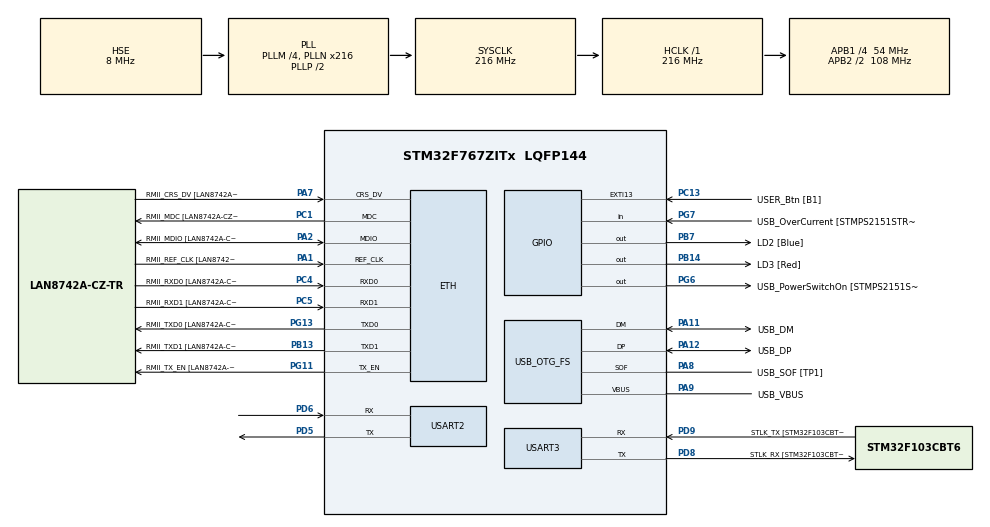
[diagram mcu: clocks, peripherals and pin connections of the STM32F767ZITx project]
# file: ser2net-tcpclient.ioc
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Dma.Request0=USART2_RX
Dma.USART2_RX.0.Direction=DMA_PERIPH_TO_MEMORY
Dma.USART2_RX.0.FIFOMode=DMA_FIFOMODE_DISABLE
Dma.USART2_RX.0.Instance=DMA1_Stream5
Dma.USART2_RX.0.MemDataAlignment=DMA_MDATAALIGN_BYTE
Dma.USART2_RX.0.MemInc=DMA_MINC_ENABLE
Dma.USART2_RX.0.Mode=DMA_NORMAL
Dma.USART2_RX.0.PeriphDataAlignment=DMA_PDATAALIGN_BYTE
Dma.USART2_RX.0.PeriphInc=DMA_PINC_DISABLE
Dma.USART2_RX.0.Priority=DMA_PRIORITY_MEDIUM
ETH.MACAddr=00\:80\:E0\:12\:34\:56
ETH.MediaInterface=ETH_MEDIA_INTERFACE_RMII
ETH.PHY_Name=LAN8742A_PHY_ADDRESS
ETH.PHY_Value=0
ETH.PhyAddress=0
LWIP.GATEWAY_ADDRESS=192.168.001.001
LWIP.IP_ADDRESS=192.168.001.123
LWIP.LWIP_DHCP=0
LWIP.MEMP_NUM_TCP_SEG=24
LWIP.NETMASK_ADDRESS=255.255.255.000
LWIP.TCP_MSS=460
LWIP.TCP_SND_BUF=1840
LWIP.TCP_WND=2048
LWIP.Version=v2.0.3_Cube
Mcu.Family=STM32F7
Mcu.Name=STM32F767ZITx
Mcu.Package=LQFP144
NVIC.DMA1_Stream5_IRQn=true\:0\:0\:false\:false\:true\:false\:true
NVIC.PriorityGroup=NVIC_PRIORITYGROUP_4
NVIC.USART2_IRQn=true\:0\:0\:false\:false\:true\:true\:true
PA1.GPIO_Label=RMII_REF_CLK [LAN8742A-CZ-TR_REFCLK0]
PA1.Mode=RMII
PA1.Signal=ETH_REF_CLK
PA10.GPIO_Label=USB_ID
PA10.Signal=USB_OTG_FS_ID
PA11.GPIO_Label=USB_DM
PA11.Mode=Device_Only
PA11.Signal=USB_OTG_FS_DM
PA12.GPIO_Label=USB_DP
PA12.Mode=Device_Only
PA12.Signal=USB_OTG_FS_DP
PA13.GPIO_Label=TMS
PA13.Mode=Serial_Wire
PA13.Signal=SYS_JTMS-SWDIO
PA14.GPIO_Label=TCK
PA14.Mode=Serial_Wire
PA14.Signal=SYS_JTCK-SWCLK
PA2.GPIO_Label=RMII_MDIO [LAN8742A-CZ-TR_MDIO]
PA2.Mode=RMII
PA2.Signal=ETH_MDIO
PA7.GPIO_Label=RMII_CRS_DV [LAN8742A-CZ-TR_CRS_DV]
PA7.Mode=RMII
PA7.Signal=ETH_CRS_DV
PA8.GPIO_Label=USB_SOF [TP1]
PA8.Mode=Activate_SOF_FS
PA8.Signal=USB_OTG_FS_SOF
PA9.GPIO_Label=USB_VBUS
PA9.Mode=Activate_VBUS
PA9.Signal=USB_OTG_FS_VBUS
PB13.GPIO_Label=RMII_TXD1 [LAN8742A-CZ-TR_TXD1]
PB13.Mode=RMII
PB13.Signal=ETH_TXD1
PB14.GPIO_Label=LD3 [Red]
PB14.Signal=GPIO_Output
PB3.GPIO_Label=SWO
PB3.Signal=SYS_JTDO-SWO
PB7.GPIO_Label=LD2 [Blue]
PB7.Signal=GPIO_Output
PC1.GPIO_Label=RMII_MDC [LAN8742A-CZ-TR_MDC]
PC1.Mode=RMII
PC1.Signal=ETH_MDC
PC13.GPIO_Label=USER_Btn [B1]
PC13.Signal=GPXTI13
PC14/OSC32_IN.Mode=LSE-External-Oscillator
PC14/OSC32_IN.Signal=RCC_OSC32_IN
PC15/OSC32_OUT.Mode=LSE-External-Oscillator
PC15/OSC32_OUT.Signal=RCC_OSC32_OUT
PC4.GPIO_Label=RMII_RXD0 [LAN8742A-CZ-TR_RXD0]
PC4.Mode=RMII
PC4.Signal=ETH_RXD0
PC5.GPIO_Label=RMII_RXD1 [LAN8742A-CZ-TR_RXD1]
PC5.Mode=RMII
PC5.Signal=ETH_RXD1
PD5.Mode=Asynchronous
PD5.Signal=USART2_TX
PD6.Mode=Asynchronous
PD6.Signal=USART2_RX
PD8.GPIO_Label=STLK_RX [STM32F103CBT6_PA3]
PD8.Mode=Asynchronous
PD8.Signal=USART3_TX
PD9.GPIO_Label=STLK_TX [STM32F103CBT6_PA2]
PD9.Mode=Asynchronous
PD9.Signal=USART3_RX
PG11.GPIO_Label=RMII_TX_EN [LAN8742A-CZ-TR_TXEN]
PG11.Mode=RMII
PG11.Signal=ETH_TX_EN
PG13.GPIO_Label=RMII_TXD0 [LAN8742A-CZ-TR_TXD0]
PG13.Mode=RMII
PG13.Signal=ETH_TXD0
PG6.GPIO_Label=USB_PowerSwitchOn [STMPS2151STR_EN]
PG6.Signal=GPIO_Output
PG7.GPIO_Label=USB_OverCurrent [STMPS2151STR_FAULT]
PG7.Signal=GPIO_Input
PH0/OSC_IN.GPIO_Label=MCO [STM32F103CBT6_PA8]
PH0/OSC_IN.Mode=HSE-External-Clock-Source
PH0/OSC_IN.Signal=RCC_OSC_IN
PH1/OSC_OUT.Mode=HSE-External-Clock-Source
PH1/OSC_OUT.Signal=RCC_OSC_OUT
ProjectManager.HeapSize=0x2000
ProjectManager.StackSize=0x4000
ProjectManager.TargetToolchain=SW4STM32
RCC.48MHZClocksFreq_Value=24000000
RCC.AHBFreq_Value=216000000
RCC.APB1CLKDivider=RCC_HCLK_DIV4
RCC.APB1Freq_Value=54000000
RCC.APB1TimFreq_Value=108000000
RCC.APB2CLKDivider=RCC_HCLK_DIV2
RCC.APB2Freq_Value=108000000
RCC.APB2TimFreq_Value=216000000
RCC.CortexFreq_Value=216000000
RCC.HCLKFreq_Value=216000000
RCC.HSE_VALUE=8000000
RCC.HSI_VALUE=16000000
RCC.PLLM=4
RCC.PLLMUL=RCC_PLL_MUL9
RCC.PLLN=216
RCC.PLLQ=9
RCC.PRESCALERUSB=RCC_USBCLKSOURCE_PLL_DIV1_5
RCC.SYSCLKFreq_VALUE=216000000
RCC.SYSCLKSource=RCC_SYSCLKSOURCE_PLLCLK
RCC.SYSCLKSourceVirtual=RCC_SYSCLKSOURCE_PLLCLK
RCC.USBFreq_Value=48000000
RCC.VCOOutputFreq_Value=432000000
USART2.VirtualMode-Asynchronous=VM_ASYNC
USART3.VirtualMode-Asynchronous=VM_ASYNC
USB_OTG_FS.VirtualMode=Device_Only
VP_LWIP_VS_Enabled.Mode=Enabled
board=NUCLEO-F767ZI

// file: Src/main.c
/* USER CODE BEGIN Header */
/**
  ******************************************************************************
  * @file           : main.c
  * @brief          : Main program body
  ******************************************************************************
  * @attention
  *
  * <h2><center>&copy; Copyright (c) 2019 STMicroelectronics.
  * All rights reserved.</center></h2>
  *
  * This software component is licensed by ST under Ultimate Liberty license
  * SLA0044, the "License"; You may not use this file except in compliance with
  * the License. You may obtain a copy of the License at:
  *                             www.st.com/SLA0044
  *
  ******************************************************************************
  */
/* USER CODE END Header */

#include "main.h"
#include "dma.h"
#include "lwip.h"
#include "usart.h"
#include "usb_otg.h"
#include "gpio.h"

/* USER CODE BEGIN Includes */
#include "app_ethernet.h"
#include <string.h>
#include <stdio.h>
/* USER CODE END Includes */

/* USER CODE BEGIN PV */
extern struct netif gnetif;
uint8_t msg_buff[BUFSIZE] = {0,};
uint8_t cmd_buff[CMD_BUFSIZE] = {0,};
/* USER CODE END PV */

void SystemClock_Config(void);

/* USER CODE BEGIN 0 */

/**
  * @brief  The application debug msg.
  * @retval ch
  */
#ifdef __GNUC__
#define PUTCHAR_PROTOTYPE int __io_putchar(int ch)
#else
#define PUTCHAR_PROTOTYPE int fputc(int ch, FILE *f)
#endif /* __GNUC__ */

PUTCHAR_PROTOTYPE
{
    HAL_UART_Transmit(&huart3, (uint8_t *)&ch, 1, 0xFFFF);
    return ch;
}

/* USER CODE END 0 */

int main(void)
{

  /* MCU Configuration--------------------------------------------------------*/

  /* Reset of all peripherals, Initializes the Flash interface and the Systick. */
  HAL_Init();

  /* Configure the system clock */
  SystemClock_Config();

  /* Initialize all configured peripherals */
  MX_GPIO_Init();
  MX_DMA_Init();
  MX_USART3_UART_Init();
  MX_USB_OTG_FS_PCD_Init();
  MX_LWIP_Init();
  MX_USART2_UART_Init();
  /* USER CODE BEGIN 2 */

  printf("[OK ] system initialized\r\n");
  net_ini();
    __HAL_UART_ENABLE_IT(&huart2, UART_IT_IDLE);
    HAL_UART_Receive_DMA(&huart2, (uint8_t*)msg_buff, BUFSIZE);
  /* USER CODE END 2 */

  /* Infinite loop */
  /* USER CODE BEGIN WHILE */
#pragma clang diagnostic push
#pragma clang diagnostic ignored "-Wmissing-noreturn"
  while (1)
  {
    /* USER CODE END WHILE */

    /* USER CODE BEGIN 3 */
    MX_LWIP_Process();
    HAL_GPIO_TogglePin(LD2_GPIO_Port, LD2_Pin);
    HAL_Delay(500);
  }
#pragma clang diagnostic pop
  /* USER CODE END 3 */
}

void SystemClock_Config(void)
{
  RCC_OscInitTypeDef RCC_OscInitStruct = {0};
  RCC_ClkInitTypeDef RCC_ClkInitStruct = {0};
  RCC_PeriphCLKInitTypeDef PeriphClkInitStruct = {0};

  /** Configure LSE Drive Capability
  */
  HAL_PWR_EnableBkUpAccess();
  /** Configure the main internal regulator output voltage
  */
  __HAL_RCC_PWR_CLK_ENABLE();
  __HAL_PWR_VOLTAGESCALING_CONFIG(PWR_REGULATOR_VOLTAGE_SCALE1);
  /** Initializes the CPU, AHB and APB busses clocks
  */
  RCC_OscInitStruct.OscillatorType = RCC_OSCILLATORTYPE_HSE;
  RCC_OscInitStruct.HSEState = RCC_HSE_BYPASS;
  RCC_OscInitStruct.PLL.PLLState = RCC_PLL_ON;
  RCC_OscInitStruct.PLL.PLLSource = RCC_PLLSOURCE_HSE;
  RCC_OscInitStruct.PLL.PLLM = 4;
  RCC_OscInitStruct.PLL.PLLN = 216;
  RCC_OscInitStruct.PLL.PLLP = RCC_PLLP_DIV2;
  RCC_OscInitStruct.PLL.PLLQ = 9;
  if (HAL_RCC_OscConfig(&RCC_OscInitStruct) != HAL_OK)
  {
    Error_Handler();
  }
  /** Activate the Over-Drive mode
  */
  if (HAL_PWREx_EnableOverDrive() != HAL_OK)
  {
    Error_Handler();
  }
  /** Initializes the CPU, AHB and APB busses clocks
  */
  RCC_ClkInitStruct.ClockType = RCC_CLOCKTYPE_HCLK|RCC_CLOCKTYPE_SYSCLK
                              |RCC_CLOCKTYPE_PCLK1|RCC_CLOCKTYPE_PCLK2;
  RCC_ClkInitStruct.SYSCLKSource = RCC_SYSCLKSOURCE_PLLCLK;
  RCC_ClkInitStruct.AHBCLKDivider = RCC_SYSCLK_DIV1;
  RCC_ClkInitStruct.APB1CLKDivider = RCC_HCLK_DIV4;
  RCC_ClkInitStruct.APB2CLKDivider = RCC_HCLK_DIV2;

  if (HAL_RCC_ClockConfig(&RCC_ClkInitStruct, FLASH_LATENCY_7) != HAL_OK)
  {
    Error_Handler();
  }
  PeriphClkInitStruct.PeriphClockSelection = RCC_PERIPHCLK_USART2|RCC_PERIPHCLK_USART3
                              |RCC_PERIPHCLK_CLK48;
  PeriphClkInitStruct.Usart2ClockSelection = RCC_USART2CLKSOURCE_PCLK1;
  PeriphClkInitStruct.Usart3ClockSelection = RCC_USART3CLKSOURCE_PCLK1;
  PeriphClkInitStruct.Clk48ClockSelection = RCC_CLK48SOURCE_PLL;
  if (HAL_RCCEx_PeriphCLKConfig(&PeriphClkInitStruct) != HAL_OK)
  {
    Error_Handler();
  }
}

/* USER CODE BEGIN 4 */

/**
 *
 * @param huart
 */
void HAL_UART_ErrorCallback(UART_HandleTypeDef *huart)
{
    if(huart == &huart2)
    {
        __HAL_UART_DISABLE_IT(&huart2, UART_IT_IDLE);
        HAL_UART_DMAStop(&huart2);
        HAL_GPIO_TogglePin(LD3_GPIO_Port, LD3_Pin);
        uint32_t er = HAL_UART_GetError(&huart2);

        switch(er)
        {
            case HAL_UART_ERROR_PE:
                printf("[ERR] ERR_Callbck - Parity error\r\n");
                __HAL_UART_CLEAR_PEFLAG(&huart2);
                huart->ErrorCode = HAL_UART_ERROR_NONE;
                break;

            case HAL_UART_ERROR_NE:
                printf("[ERR] ERR_Callbck - Noise error\r\n");
                __HAL_UART_CLEAR_NEFLAG(&huart2);
                huart->ErrorCode = HAL_UART_ERROR_NONE;
                break;

            case HAL_UART_ERROR_FE:
                printf("[ERR] ERR_Callbck - Frame error\r\n");
                __HAL_UART_CLEAR_FEFLAG(&huart2);
                huart->ErrorCode = HAL_UART_ERROR_NONE;
                break;

            case HAL_UART_ERROR_ORE:
                printf("[ERR] ERR_Callbck - Overrun error\r\n");
                __HAL_UART_CLEAR_OREFLAG(huart);
                huart->ErrorCode = HAL_UART_ERROR_NONE;
                break;

            case HAL_UART_ERROR_DMA:
                printf("[ERR] ERR_Callbck - DMA transfer error\r\n");
                huart->ErrorCode = HAL_UART_ERROR_NONE;
                break;

            default:
                break;
        }
    }

}
/* USER CODE END 4 */

void Error_Handler(void)
{
}

/************************ (C) COPYRIGHT STMicroelectronics *****END OF FILE****/
